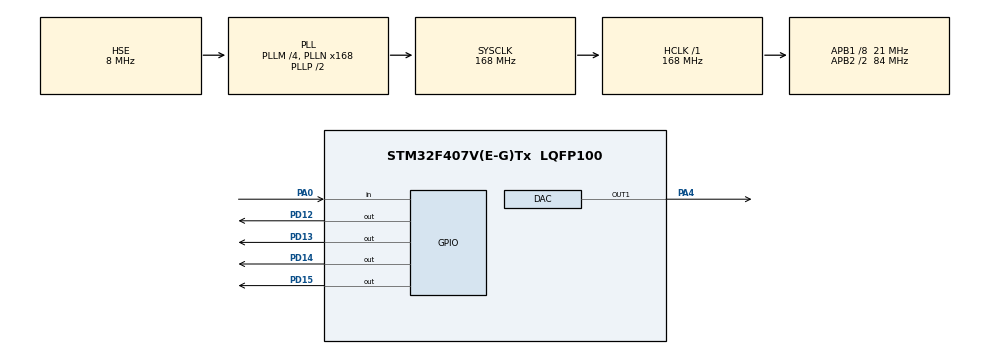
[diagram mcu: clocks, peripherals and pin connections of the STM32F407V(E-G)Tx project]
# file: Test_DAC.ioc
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Mcu.Family=STM32F4
Mcu.Name=STM32F407V(E-G)Tx
Mcu.Package=LQFP100
NVIC.PriorityGroup=NVIC_PRIORITYGROUP_4
PA0-WKUP.Signal=GPIO_Input
PA4.Signal=COMP_DAC1_group
PD12.Signal=GPIO_Output
PD13.Signal=GPIO_Output
PD14.Signal=GPIO_Output
PD15.Signal=GPIO_Output
PH0-OSC_IN.Mode=HSE-External-Oscillator
PH0-OSC_IN.Signal=RCC_OSC_IN
PH1-OSC_OUT.Mode=HSE-External-Oscillator
PH1-OSC_OUT.Signal=RCC_OSC_OUT
ProjectManager.HeapSize=0x200
ProjectManager.StackSize=0x400
ProjectManager.TargetToolchain=MDK-ARM V5.32
RCC.48MHZClocksFreq_Value=84000000
RCC.AHBFreq_Value=168000000
RCC.APB1CLKDivider=RCC_HCLK_DIV8
RCC.APB1Freq_Value=21000000
RCC.APB1TimFreq_Value=42000000
RCC.APB2CLKDivider=RCC_HCLK_DIV2
RCC.APB2Freq_Value=84000000
RCC.APB2TimFreq_Value=168000000
RCC.CortexFreq_Value=168000000
RCC.HCLKFreq_Value=168000000
RCC.HSE_VALUE=8000000
RCC.HSI_VALUE=16000000
RCC.LSE_VALUE=32768
RCC.PLLM=4
RCC.PLLN=168
RCC.PLLSourceVirtual=RCC_PLLSOURCE_HSE
RCC.PWR_Regulator_Voltage_Scale=PWR_REGULATOR_VOLTAGE_SCALE1
RCC.SYSCLKFreq_VALUE=168000000
RCC.SYSCLKSource=RCC_SYSCLKSOURCE_PLLCLK
RCC.VCOOutputFreq_Value=336000000
SH.COMP_DAC1_group.0=DAC_OUT1,DAC_OUT1
board=custom

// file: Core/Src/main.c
/* USER CODE BEGIN Header */
/**
  ******************************************************************************
  * @file           : main.c
  * @brief          : Main program body
  ******************************************************************************
  * @attention
  *
  * Copyright (c) 2023 STMicroelectronics.
  * All rights reserved.
  *
  * This software is licensed under terms that can be found in the LICENSE file
  * in the root directory of this software component.
  * If no LICENSE file comes with this software, it is provided AS-IS.
  *
  ******************************************************************************
  */
/* USER CODE END Header */
#include "main.h"

DAC_HandleTypeDef hdac;

/* USER CODE BEGIN PV */
uint32_t test;
uint8_t vrnt;

/* USER CODE END PV */

void SystemClock_Config(void);
static void MX_GPIO_Init(void);
static void MX_DAC_Init(void);

int main(void)
{

  /* MCU Configuration--------------------------------------------------------*/

  /* Reset of all peripherals, Initializes the Flash interface and the Systick. */
  HAL_Init();

  /* Configure the system clock */
  SystemClock_Config();

  /* Initialize all configured peripherals */
  MX_GPIO_Init();
  MX_DAC_Init();
  /* USER CODE BEGIN 2 */
HAL_DAC_Start(&hdac,DAC_CHANNEL_1);
HAL_DAC_SetValue(&hdac,DAC_CHANNEL_1,DAC_ALIGN_12B_R,1365);
  /* USER CODE END 2 */

  /* Infinite loop */
  while (1)
  {

    /* USER CODE BEGIN 3 */
		if(HAL_GPIO_ReadPin (GPIOA, GPIO_PIN_0) == GPIO_PIN_SET)
		{
			HAL_GPIO_TogglePin (GPIOD, GPIO_PIN_12);
			HAL_Delay(500);
			HAL_GPIO_TogglePin (GPIOD, GPIO_PIN_12);
			HAL_GPIO_TogglePin (GPIOD, GPIO_PIN_13);
			HAL_Delay(500);
			HAL_GPIO_TogglePin (GPIOD, GPIO_PIN_13);
			HAL_GPIO_TogglePin (GPIOD, GPIO_PIN_14);
			HAL_Delay(500);
			HAL_GPIO_TogglePin (GPIOD, GPIO_PIN_14);
			HAL_GPIO_TogglePin (GPIOD, GPIO_PIN_15);
			HAL_Delay(500);
			HAL_GPIO_TogglePin (GPIOD, GPIO_PIN_15);
    }
		else
			HAL_GPIO_WritePin(GPIOD, GPIO_PIN_12|GPIO_PIN_13|GPIO_PIN_14|GPIO_PIN_15, GPIO_PIN_RESET);
	}
  /* USER CODE END 3 */
}

void SystemClock_Config(void)
{
  RCC_OscInitTypeDef RCC_OscInitStruct = {0};
  RCC_ClkInitTypeDef RCC_ClkInitStruct = {0};

  /** Configure the main internal regulator output voltage
  */
  __HAL_RCC_PWR_CLK_ENABLE();
  __HAL_PWR_VOLTAGESCALING_CONFIG(PWR_REGULATOR_VOLTAGE_SCALE1);

  /** Initializes the RCC Oscillators according to the specified parameters
  * in the RCC_OscInitTypeDef structure.
  */
  RCC_OscInitStruct.OscillatorType = RCC_OSCILLATORTYPE_HSE;
  RCC_OscInitStruct.HSEState = RCC_HSE_ON;
  RCC_OscInitStruct.PLL.PLLState = RCC_PLL_ON;
  RCC_OscInitStruct.PLL.PLLSource = RCC_PLLSOURCE_HSE;
  RCC_OscInitStruct.PLL.PLLM = 4;
  RCC_OscInitStruct.PLL.PLLN = 168;
  RCC_OscInitStruct.PLL.PLLP = RCC_PLLP_DIV2;
  RCC_OscInitStruct.PLL.PLLQ = 4;
  if (HAL_RCC_OscConfig(&RCC_OscInitStruct) != HAL_OK)
  {
    Error_Handler();
  }

  /** Initializes the CPU, AHB and APB buses clocks
  */
  RCC_ClkInitStruct.ClockType = RCC_CLOCKTYPE_HCLK|RCC_CLOCKTYPE_SYSCLK
                              |RCC_CLOCKTYPE_PCLK1|RCC_CLOCKTYPE_PCLK2;
  RCC_ClkInitStruct.SYSCLKSource = RCC_SYSCLKSOURCE_PLLCLK;
  RCC_ClkInitStruct.AHBCLKDivider = RCC_SYSCLK_DIV1;
  RCC_ClkInitStruct.APB1CLKDivider = RCC_HCLK_DIV8;
  RCC_ClkInitStruct.APB2CLKDivider = RCC_HCLK_DIV2;

  if (HAL_RCC_ClockConfig(&RCC_ClkInitStruct, FLASH_LATENCY_5) != HAL_OK)
  {
    Error_Handler();
  }
}

static void MX_DAC_Init(void)
{

  DAC_ChannelConfTypeDef sConfig = {0};

  /** DAC Initialization
  */
  hdac.Instance = DAC;
  if (HAL_DAC_Init(&hdac) != HAL_OK)
  {
    Error_Handler();
  }

  /** DAC channel OUT1 config
  */
  sConfig.DAC_Trigger = DAC_TRIGGER_NONE;
  sConfig.DAC_OutputBuffer = DAC_OUTPUTBUFFER_ENABLE;
  if (HAL_DAC_ConfigChannel(&hdac, &sConfig, DAC_CHANNEL_1) != HAL_OK)
  {
    Error_Handler();
  }

}

static void MX_GPIO_Init(void)
{
  GPIO_InitTypeDef GPIO_InitStruct = {0};

  /* GPIO Ports Clock Enable */
  __HAL_RCC_GPIOH_CLK_ENABLE();
  __HAL_RCC_GPIOA_CLK_ENABLE();
  __HAL_RCC_GPIOD_CLK_ENABLE();

  /*Configure GPIO pin Output Level */
  HAL_GPIO_WritePin(GPIOD, GPIO_PIN_12|GPIO_PIN_13|GPIO_PIN_14|GPIO_PIN_15, GPIO_PIN_RESET);

  /*Configure GPIO pin : PA0 */
  GPIO_InitStruct.Pin = GPIO_PIN_0;
  GPIO_InitStruct.Mode = GPIO_MODE_INPUT;
  GPIO_InitStruct.Pull = GPIO_NOPULL;
  HAL_GPIO_Init(GPIOA, &GPIO_InitStruct);

  /*Configure GPIO pins : PD12 PD13 PD14 PD15 */
  GPIO_InitStruct.Pin = GPIO_PIN_12|GPIO_PIN_13|GPIO_PIN_14|GPIO_PIN_15;
  GPIO_InitStruct.Mode = GPIO_MODE_OUTPUT_PP;
  GPIO_InitStruct.Pull = GPIO_NOPULL;
  GPIO_InitStruct.Speed = GPIO_SPEED_FREQ_LOW;
  HAL_GPIO_Init(GPIOD, &GPIO_InitStruct);

}

void Error_Handler(void)
{
  __disable_irq();
  while (1)
  {
  }
}
